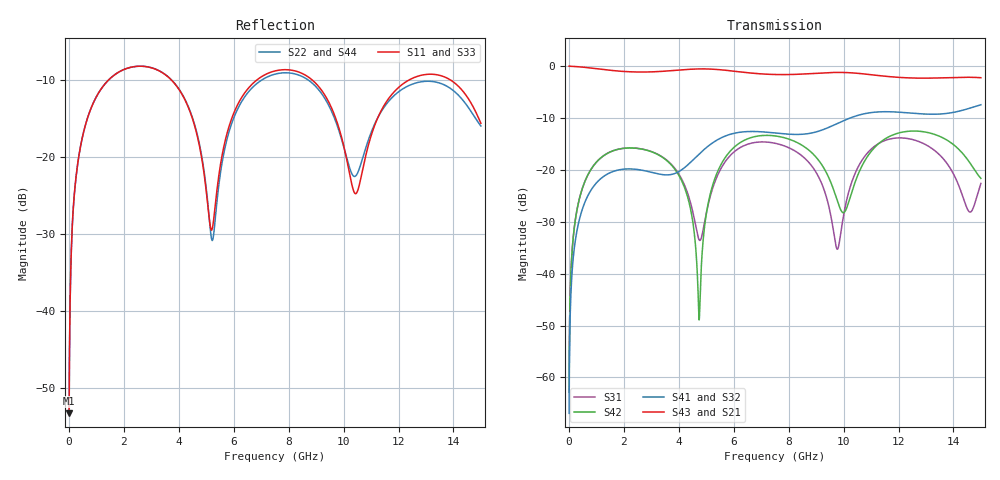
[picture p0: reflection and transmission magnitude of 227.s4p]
! Created with skrf 1.8.0 (http://scikit-rf.org).
# GHz S RI R 50.0
!freq ReS11 ImS11 ReS12 ImS12 ReS13 ImS13
! ReS14 ImS14
! ReS21 ImS21 ReS22 ImS22 ReS23 ImS23
! ReS24 ImS24
! ReS31 ImS31 ReS32 ImS32 ReS33 ImS33
! ReS34 ImS34
! ReS41 ImS41 ReS42 ImS42 ReS43 ImS43
! ReS44 ImS44
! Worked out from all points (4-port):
!   2499 points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, 5 MHz to 15 GHz, reference 50 ohm
!   strongest paths, dB at 5 MHz, 3.476 GHz, 7.19 GHz, 11.1 GHz, 15 GHz:
!     S43: 0.0, -1.0, -1.6, -1.7, -2.2
!     S21: 0.0, -1.0, -1.6, -1.7, -2.2
!     S41: -66.9, -20.9, -12.7, -8.9, -7.5
!     S32: -66.9, -21.0, -12.8, -8.9, -7.4
!     S42: -62.9, -17.8, -13.3, -15.9, -21.6
!     S31: -62.9, -17.8, -14.6, -15.6, -22.6
!   lowest |S11| = -53.3 dB at 5 MHz (marker M1), VSWR 1.00, Z = 50.2 + j0.131 ohm
!   |S11| at or under -10 dB: start of sweep to 1.431 GHz; 3.739 GHz to 6.828 GHz (3.088 GHz wide, 58.5 % of centre); 8.87 GHz to 12.36 GHz (3.495 GHz wide, 32.9 % of centre) (the widest 3 of 4)
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0.005  0.00172 0.0013  0.9982 -0.00335  8.79e-05 0.000715  -8.52e-05 -0.000443
       0.9982 -0.00335  0.00172 0.0013  -8.52e-05 -0.000443  8.79e-05 0.000715
       8.79e-05 0.000715  -8.52e-05 -0.000443  0.00172 0.0013  0.9982 -0.00335
       -8.52e-05 -0.000443  8.79e-05 0.000715  0.9982 -0.00335  0.00172 0.0013
0.3126303  0.0262 0.0854  0.9642 -0.2082  0.0126 0.0422  -0.0104 -0.0258
           0.9642 -0.2082  0.0262 0.0854  -0.0104 -0.0258  0.0126 0.0422
           0.0126 0.0422  -0.0104 -0.0258  0.0262 0.0854  0.9642 -0.2081
           -0.0104 -0.0258  0.0126 0.0422  0.9642 -0.2081  0.0262 0.0854
1.569404  0.2876 0.1684  0.5078 -0.7518  0.1397 0.0586  -0.0957 0.00117
          0.5078 -0.7518  0.2875 0.1685  -0.0955 0.000975  0.1399 0.0584
          0.1397 0.0586  -0.0955 0.000975  0.2876 0.1684  0.5079 -0.7518
          -0.0957 0.00117  0.1399 0.0584  0.5079 -0.7518  0.2874 0.1686
4.745727  0.0601 -0.1036  -0.877 -0.3358  -0.0198 -0.00717  -0.0455 0.1352
          -0.877 -0.3358  0.0578 -0.1084  -0.048 0.1342  0.00349 0.00105
          -0.0198 -0.00717  -0.048 0.1342  0.0583 -0.1033  -0.8771 -0.3358
          -0.0455 0.1352  0.00349 0.00105  -0.8771 -0.3358  0.0588 -0.107
8.047103  0.3663 -0.045  -0.0172 0.8288  0.153 -0.0517  0.2098 -0.0678
          -0.0172 0.8288  0.3519 -0.0226  0.2098 -0.0615  0.1597 -0.1141
          0.153 -0.0517  0.2098 -0.0615  0.3663 -0.045  -0.0182 0.8292
          0.2098 -0.0678  0.1597 -0.1141  -0.0182 0.8292  0.3498 -0.0211
10.78574  0.0791 0.0587  0.8369 -0.0488  0.0474 0.1283  -0.0472 -0.3455
          0.8369 -0.0488  0.0951 0.0583  -0.0348 -0.3475  0.0523 0.1126
          0.0474 0.1283  -0.0348 -0.3475  0.0735 0.0635  0.8369 -0.047
          -0.0472 -0.3455  0.0523 0.1126  0.8369 -0.047  0.1004 0.0586
15  0.133 -0.0995  -0.6134 -0.4695  -0.0561 0.0482  -0.2486 0.3435
    -0.6134 -0.4695  0.1534 -0.0435  -0.2671 0.3306  -0.0801 -0.0214
    -0.0561 0.0482  -0.2671 0.3306  0.1283 -0.098  -0.61 -0.4743
    -0.2486 0.3435  -0.0801 -0.0214  -0.61 -0.4743  0.1588 -0.0397
